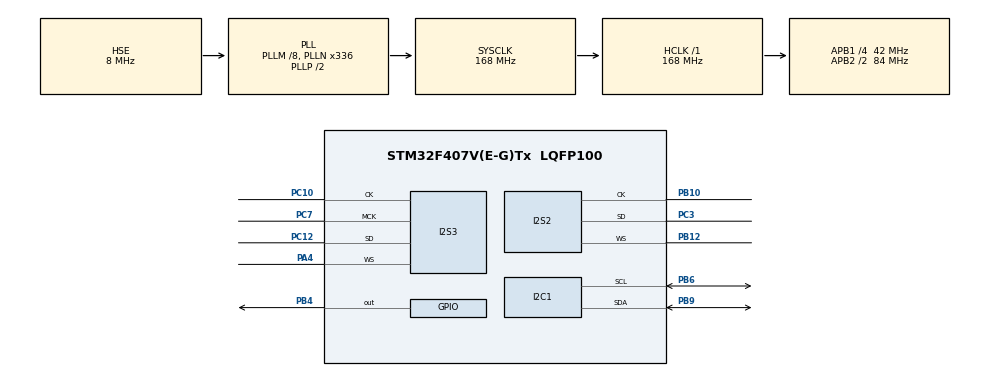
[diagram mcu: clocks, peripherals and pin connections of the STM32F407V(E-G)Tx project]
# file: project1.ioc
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Dma.Request0=SPI3_TX
Dma.Request1=SPI2_RX
Dma.SPI2_RX.1.Direction=DMA_PERIPH_TO_MEMORY
Dma.SPI2_RX.1.FIFOMode=DMA_FIFOMODE_ENABLE
Dma.SPI2_RX.1.FIFOThreshold=DMA_FIFO_THRESHOLD_FULL
Dma.SPI2_RX.1.Instance=DMA1_Stream3
Dma.SPI2_RX.1.MemBurst=DMA_MBURST_SINGLE
Dma.SPI2_RX.1.MemDataAlignment=DMA_MDATAALIGN_HALFWORD
Dma.SPI2_RX.1.MemInc=DMA_MINC_ENABLE
Dma.SPI2_RX.1.Mode=DMA_CIRCULAR
Dma.SPI2_RX.1.PeriphBurst=DMA_PBURST_SINGLE
Dma.SPI2_RX.1.PeriphDataAlignment=DMA_PDATAALIGN_HALFWORD
Dma.SPI2_RX.1.PeriphInc=DMA_PINC_DISABLE
Dma.SPI2_RX.1.Priority=DMA_PRIORITY_LOW
Dma.SPI3_TX.0.Direction=DMA_MEMORY_TO_PERIPH
Dma.SPI3_TX.0.FIFOMode=DMA_FIFOMODE_ENABLE
Dma.SPI3_TX.0.FIFOThreshold=DMA_FIFO_THRESHOLD_FULL
Dma.SPI3_TX.0.Instance=DMA1_Stream5
Dma.SPI3_TX.0.MemBurst=DMA_MBURST_SINGLE
Dma.SPI3_TX.0.MemDataAlignment=DMA_MDATAALIGN_HALFWORD
Dma.SPI3_TX.0.MemInc=DMA_MINC_ENABLE
Dma.SPI3_TX.0.Mode=DMA_CIRCULAR
Dma.SPI3_TX.0.PeriphBurst=DMA_PBURST_SINGLE
Dma.SPI3_TX.0.PeriphDataAlignment=DMA_PDATAALIGN_HALFWORD
Dma.SPI3_TX.0.PeriphInc=DMA_PINC_DISABLE
Dma.SPI3_TX.0.Priority=DMA_PRIORITY_LOW
I2S2.AudioFreq=I2S_AUDIOFREQ_48K
I2S2.DataFormat=I2S_DATAFORMAT_24B
I2S2.ErrorAudioFreq=0.8 %
I2S2.FullDuplexMode=I2S_FULLDUPLEXMODE_DISABLE
I2S2.Instance=SPI$Index
I2S2.Mode=I2S_MODE_SLAVE_RX
I2S2.RealAudioFreq=48.387 KHz
I2S2.Standard=I2S_STANDARD_PHILIPS
I2S2.VirtualMode=I2S_MODE_SLAVE
I2S3.AudioFreq=I2S_AUDIOFREQ_48K
I2S3.DataFormat=I2S_DATAFORMAT_24B
I2S3.ErrorAudioFreq=-2.34 %
I2S3.FullDuplexMode=I2S_FULLDUPLEXMODE_DISABLE
I2S3.Instance=SPI$Index
I2S3.RealAudioFreq=46.875 KHz
I2S3.VirtualMode=I2S_MODE_MASTER
Mcu.Family=STM32F4
Mcu.Name=STM32F407V(E-G)Tx
Mcu.Package=LQFP100
NVIC.DMA1_Stream3_IRQn=true\:0\:0\:false\:false\:true\:false\:true\:true
NVIC.DMA1_Stream5_IRQn=true\:0\:0\:false\:false\:true\:false\:true\:true
NVIC.PriorityGroup=NVIC_PRIORITYGROUP_0
PA4.Mode=Half_Duplex_Master
PA4.Signal=I2S3_WS
PB10.Mode=Half_Duplex_Slave
PB10.Signal=I2S2_CK
PB12.Mode=Half_Duplex_Slave
PB12.Signal=I2S2_WS
PB4.Signal=GPIO_Output
PB6.Mode=I2C
PB6.Signal=I2C1_SCL
PB9.Mode=I2C
PB9.Signal=I2C1_SDA
PC10.Mode=Half_Duplex_Master
PC10.Signal=I2S3_CK
PC12.Mode=Half_Duplex_Master
PC12.Signal=I2S3_SD
PC3.Mode=Half_Duplex_Slave
PC3.Signal=I2S2_SD
PC7.Mode=Master_Clock_Activated
PC7.Signal=I2S3_MCK
PDM2PCM.CHANNEL1_bit_order=PDM_FILTER_BIT_ORDER_MSB
PDM2PCM.CHANNEL1_endianness=PDM_FILTER_ENDIANNESS_BE
PDM2PCM.CHANNEL1_in_ptr_channels=1
PDM2PCM.CHANNEL1_out_ptr_channels=1
PDM2PCM.CHANNEL1_output_samples_number=16
PH0-OSC_IN.Mode=HSE-External-Oscillator
PH0-OSC_IN.Signal=RCC_OSC_IN
PH1-OSC_OUT.Mode=HSE-External-Oscillator
PH1-OSC_OUT.Signal=RCC_OSC_OUT
ProjectManager.HeapSize=0x200
ProjectManager.StackSize=0x400
ProjectManager.TargetToolchain=MDK-ARM V5.32
RCC.48MHZClocksFreq_Value=48000000
RCC.AHBFreq_Value=168000000
RCC.APB1CLKDivider=RCC_HCLK_DIV4
RCC.APB1Freq_Value=42000000
RCC.APB1TimFreq_Value=84000000
RCC.APB2CLKDivider=RCC_HCLK_DIV2
RCC.APB2Freq_Value=84000000
RCC.APB2TimFreq_Value=168000000
RCC.CortexFreq_Value=168000000
RCC.HCLKFreq_Value=168000000
RCC.HSE_VALUE=8000000
RCC.HSI_VALUE=16000000
RCC.PLLM=8
RCC.PLLN=336
RCC.PLLQ=7
RCC.PLLSourceVirtual=RCC_PLLSOURCE_HSE
RCC.SYSCLKFreq_VALUE=168000000
RCC.SYSCLKSource=RCC_SYSCLKSOURCE_PLLCLK
RCC.VCOOutputFreq_Value=336000000
VP_CRC_VS_CRC.Mode=CRC_Activate
VP_PDM2PCM_VS_PDM2PCM.Mode=PDM2PCM_Channel
board=STM32F407G-DISC1

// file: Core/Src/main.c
/* USER CODE BEGIN Header */
/**
  ******************************************************************************
  * @file           : main.c
  * @brief          : Main program body
  ******************************************************************************
  * @attention
  *
  * Copyright (c) 2024 STMicroelectronics.
  * All rights reserved.
  *
  * This software is licensed under terms that can be found in the LICENSE file
  * in the root directory of this software component.
  * If no LICENSE file comes with this software, it is provided AS-IS.
  *
  ******************************************************************************
  */
/* USER CODE END Header */
#include "main.h"
#include "pdm2pcm.h"

/* USER CODE BEGIN Includes */
#include "MY_CS43L22.h"
#include <math.h>
/* USER CODE END Includes */

/* USER CODE BEGIN PTD */
#define BUFFER_SIZE 64
/* USER CODE END PTD */

CRC_HandleTypeDef hcrc;

I2C_HandleTypeDef hi2c1;

I2S_HandleTypeDef hi2s2;
I2S_HandleTypeDef hi2s3;
DMA_HandleTypeDef hdma_spi2_rx;
DMA_HandleTypeDef hdma_spi3_tx;

/* USER CODE BEGIN PV */
uint16_t pdm_buffer[BUFFER_SIZE * 2];
uint16_t pcm_buffer[BUFFER_SIZE];

/* USER CODE END PV */

void SystemClock_Config(void);
void PeriphCommonClock_Config(void);
static void MX_GPIO_Init(void);
static void MX_DMA_Init(void);
static void MX_I2C1_Init(void);
static void MX_I2S3_Init(void);
static void MX_I2S2_Init(void);
static void MX_CRC_Init(void);

/* USER CODE BEGIN 0 */
void AudioProcessing(uint16_t* pdm_data, uint16_t* pcm_data, uint16_t size){
	PDM_Filter(pdm_data, pcm_data, &PDM1_filter_handler); /*PDM2PCM conversion*/
}
void HAL_I2S_RxHalfCpltCallback(I2S_HandleTypeDef *hi2s){ /*triggered when half of the pdm_buffer has been filled with data*/
	if(hi2s->Instance == SPI2){
		AudioProcessing(pdm_buffer, pcm_buffer, BUFFER_SIZE);
	}
}

void HAL_I2S_RxCpltCallback(I2S_HandleTypeDef *hi2s){ /*triggered when the entire pdm_buffer has been filled with data*/
	if(hi2s->Instance == SPI2){
		AudioProcessing(&pdm_buffer[BUFFER_SIZE], &pcm_buffer[BUFFER_SIZE / 2], BUFFER_SIZE);
	}
}
/* USER CODE END 0 */

int main(void)
{

  /* MCU Configuration--------------------------------------------------------*/

  /* Reset of all peripherals, Initializes the Flash interface and the Systick. */
  HAL_Init();

  /* Configure the system clock */
  SystemClock_Config();

  /* Configure the peripherals common clocks */
  PeriphCommonClock_Config();

  /* Initialize all configured peripherals */
  MX_GPIO_Init();
  MX_DMA_Init();
  MX_I2C1_Init();
  MX_I2S3_Init();
  MX_I2S2_Init();
  MX_CRC_Init();
  MX_PDM2PCM_Init();
  /* USER CODE BEGIN 2 */
	CS43_Init(hi2c1, MODE_I2S);
	CS43_SetVolume(40); //0 - 100
	CS43_Enable_RightLeft(CS43_RIGHT_LEFT);
	CS43_Start();

	HAL_I2S_Receive_DMA(&hi2s2, pdm_buffer, BUFFER_SIZE * 2);
	HAL_I2S_Transmit_DMA(&hi2s3, pcm_buffer, BUFFER_SIZE);

//	//Start DAC
//	HAL_DAC_Start(&hdac, DAC_CHANNEL_1);
//	//Start TIM2
//	HAL_TIM_Base_Start_IT(&htim2);

  /* USER CODE END 2 */

  /* Infinite loop */
  while (1)
  {

  }
}

void SystemClock_Config(void)
{
  RCC_OscInitTypeDef RCC_OscInitStruct = {0};
  RCC_ClkInitTypeDef RCC_ClkInitStruct = {0};

  /** Configure the main internal regulator output voltage
  */
  __HAL_RCC_PWR_CLK_ENABLE();
  __HAL_PWR_VOLTAGESCALING_CONFIG(PWR_REGULATOR_VOLTAGE_SCALE1);

  /** Initializes the RCC Oscillators according to the specified parameters
  * in the RCC_OscInitTypeDef structure.
  */
  RCC_OscInitStruct.OscillatorType = RCC_OSCILLATORTYPE_HSE;
  RCC_OscInitStruct.HSEState = RCC_HSE_ON;
  RCC_OscInitStruct.PLL.PLLState = RCC_PLL_ON;
  RCC_OscInitStruct.PLL.PLLSource = RCC_PLLSOURCE_HSE;
  RCC_OscInitStruct.PLL.PLLM = 8;
  RCC_OscInitStruct.PLL.PLLN = 336;
  RCC_OscInitStruct.PLL.PLLP = RCC_PLLP_DIV2;
  RCC_OscInitStruct.PLL.PLLQ = 7;
  if (HAL_RCC_OscConfig(&RCC_OscInitStruct) != HAL_OK)
  {
    Error_Handler();
  }

  /** Initializes the CPU, AHB and APB buses clocks
  */
  RCC_ClkInitStruct.ClockType = RCC_CLOCKTYPE_HCLK|RCC_CLOCKTYPE_SYSCLK
                              |RCC_CLOCKTYPE_PCLK1|RCC_CLOCKTYPE_PCLK2;
  RCC_ClkInitStruct.SYSCLKSource = RCC_SYSCLKSOURCE_PLLCLK;
  RCC_ClkInitStruct.AHBCLKDivider = RCC_SYSCLK_DIV1;
  RCC_ClkInitStruct.APB1CLKDivider = RCC_HCLK_DIV4;
  RCC_ClkInitStruct.APB2CLKDivider = RCC_HCLK_DIV2;

  if (HAL_RCC_ClockConfig(&RCC_ClkInitStruct, FLASH_LATENCY_5) != HAL_OK)
  {
    Error_Handler();
  }
}

void PeriphCommonClock_Config(void)
{
  RCC_PeriphCLKInitTypeDef PeriphClkInitStruct = {0};

  /** Initializes the peripherals clock
  */
  PeriphClkInitStruct.PeriphClockSelection = RCC_PERIPHCLK_I2S;
  PeriphClkInitStruct.PLLI2S.PLLI2SN = 192;
  PeriphClkInitStruct.PLLI2S.PLLI2SR = 2;
  if (HAL_RCCEx_PeriphCLKConfig(&PeriphClkInitStruct) != HAL_OK)
  {
    Error_Handler();
  }
}

static void MX_CRC_Init(void)
{

  hcrc.Instance = CRC;
  if (HAL_CRC_Init(&hcrc) != HAL_OK)
  {
    Error_Handler();
  }
  __HAL_CRC_DR_RESET(&hcrc);

}

static void MX_I2C1_Init(void)
{

  hi2c1.Instance = I2C1;
  hi2c1.Init.ClockSpeed = 100000;
  hi2c1.Init.DutyCycle = I2C_DUTYCYCLE_2;
  hi2c1.Init.OwnAddress1 = 0;
  hi2c1.Init.AddressingMode = I2C_ADDRESSINGMODE_7BIT;
  hi2c1.Init.DualAddressMode = I2C_DUALADDRESS_DISABLE;
  hi2c1.Init.OwnAddress2 = 0;
  hi2c1.Init.GeneralCallMode = I2C_GENERALCALL_DISABLE;
  hi2c1.Init.NoStretchMode = I2C_NOSTRETCH_DISABLE;
  if (HAL_I2C_Init(&hi2c1) != HAL_OK)
  {
    Error_Handler();
  }

}

static void MX_I2S2_Init(void)
{

  hi2s2.Instance = SPI2;
  hi2s2.Init.Mode = I2S_MODE_SLAVE_RX;
  hi2s2.Init.Standard = I2S_STANDARD_PHILIPS;
  hi2s2.Init.DataFormat = I2S_DATAFORMAT_24B;
  hi2s2.Init.MCLKOutput = I2S_MCLKOUTPUT_DISABLE;
  hi2s2.Init.AudioFreq = I2S_AUDIOFREQ_48K;
  hi2s2.Init.CPOL = I2S_CPOL_LOW;
  hi2s2.Init.ClockSource = I2S_CLOCK_PLL;
  hi2s2.Init.FullDuplexMode = I2S_FULLDUPLEXMODE_DISABLE;
  if (HAL_I2S_Init(&hi2s2) != HAL_OK)
  {
    Error_Handler();
  }

}

static void MX_I2S3_Init(void)
{

  hi2s3.Instance = SPI3;
  hi2s3.Init.Mode = I2S_MODE_MASTER_TX;
  hi2s3.Init.Standard = I2S_STANDARD_PHILIPS;
  hi2s3.Init.DataFormat = I2S_DATAFORMAT_24B;
  hi2s3.Init.MCLKOutput = I2S_MCLKOUTPUT_ENABLE;
  hi2s3.Init.AudioFreq = I2S_AUDIOFREQ_48K;
  hi2s3.Init.CPOL = I2S_CPOL_LOW;
  hi2s3.Init.ClockSource = I2S_CLOCK_PLL;
  hi2s3.Init.FullDuplexMode = I2S_FULLDUPLEXMODE_DISABLE;
  if (HAL_I2S_Init(&hi2s3) != HAL_OK)
  {
    Error_Handler();
  }

}

static void MX_DMA_Init(void)
{

  /* DMA controller clock enable */
  __HAL_RCC_DMA1_CLK_ENABLE();

  /* DMA interrupt init */
  /* DMA1_Stream3_IRQn interrupt configuration */
  HAL_NVIC_SetPriority(DMA1_Stream3_IRQn, 0, 0);
  HAL_NVIC_EnableIRQ(DMA1_Stream3_IRQn);
  /* DMA1_Stream5_IRQn interrupt configuration */
  HAL_NVIC_SetPriority(DMA1_Stream5_IRQn, 0, 0);
  HAL_NVIC_EnableIRQ(DMA1_Stream5_IRQn);

}

static void MX_GPIO_Init(void)
{
  GPIO_InitTypeDef GPIO_InitStruct = {0};

  /* GPIO Ports Clock Enable */
  __HAL_RCC_GPIOH_CLK_ENABLE();
  __HAL_RCC_GPIOC_CLK_ENABLE();
  __HAL_RCC_GPIOA_CLK_ENABLE();
  __HAL_RCC_GPIOB_CLK_ENABLE();

  /*Configure GPIO pin Output Level */
  HAL_GPIO_WritePin(GPIOB, GPIO_PIN_4, GPIO_PIN_RESET);

  /*Configure GPIO pin : PB4 */
  GPIO_InitStruct.Pin = GPIO_PIN_4;
  GPIO_InitStruct.Mode = GPIO_MODE_OUTPUT_PP;
  GPIO_InitStruct.Pull = GPIO_NOPULL;
  GPIO_InitStruct.Speed = GPIO_SPEED_FREQ_LOW;
  HAL_GPIO_Init(GPIOB, &GPIO_InitStruct);

}

void Error_Handler(void)
{
  __disable_irq();
  while (1)
  {
  }
}
